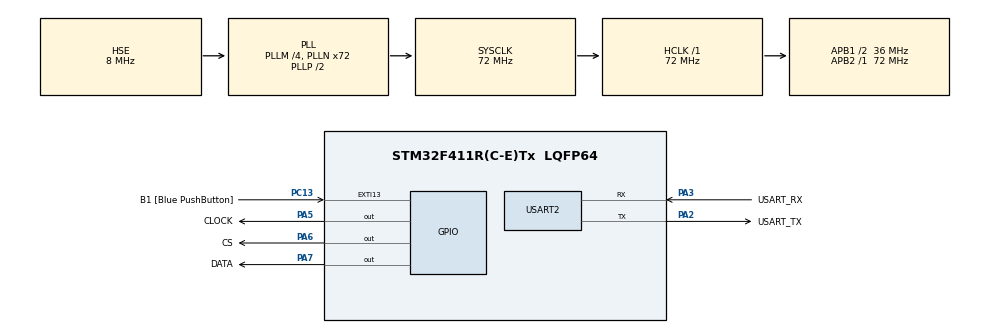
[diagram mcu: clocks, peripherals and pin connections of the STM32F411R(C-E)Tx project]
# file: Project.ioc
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Mcu.Family=STM32F4
Mcu.Name=STM32F411R(C-E)Tx
Mcu.Package=LQFP64
NVIC.PriorityGroup=NVIC_PRIORITYGROUP_0
PA13.GPIO_Label=TMS
PA13.Mode=Serial_Wire
PA13.Signal=SYS_JTMS-SWDIO
PA14.GPIO_Label=TCK
PA14.Mode=Serial_Wire
PA14.Signal=SYS_JTCK-SWCLK
PA2.GPIO_Label=USART_TX
PA2.Mode=Asynchronous
PA2.Signal=USART2_TX
PA3.GPIO_Label=USART_RX
PA3.Mode=Asynchronous
PA3.Signal=USART2_RX
PA5.GPIO_Label=CLOCK
PA5.Signal=GPIO_Output
PA6.GPIO_Label=CS
PA6.Signal=GPIO_Output
PA7.GPIO_Label=DATA
PA7.Signal=GPIO_Output
PB3.GPIO_Label=SWO
PB3.Signal=SYS_JTDO-SWO
PC13-ANTI_TAMP.GPIO_Label=B1 [Blue PushButton]
PC13-ANTI_TAMP.GPIO_ModeDefaultEXTI=GPIO_MODE_IT_FALLING
PC13-ANTI_TAMP.Signal=GPXTI13
PC14-OSC32_IN.Mode=LSE-External-Oscillator
PC14-OSC32_IN.Signal=RCC_OSC32_IN
PC15-OSC32_OUT.Mode=LSE-External-Oscillator
PC15-OSC32_OUT.Signal=RCC_OSC32_OUT
PH0\ -\ OSC_IN.Mode=HSE-External-Oscillator
PH0\ -\ OSC_IN.Signal=RCC_OSC_IN
PH1\ -\ OSC_OUT.Mode=HSE-External-Oscillator
PH1\ -\ OSC_OUT.Signal=RCC_OSC_OUT
ProjectManager.HeapSize=0x200
ProjectManager.StackSize=0x400
ProjectManager.TargetToolchain=STM32CubeIDE
RCC.48MHZClocksFreq_Value=36000000
RCC.AHBFreq_Value=72000000
RCC.APB1CLKDivider=RCC_HCLK_DIV2
RCC.APB1Freq_Value=36000000
RCC.APB1TimFreq_Value=72000000
RCC.APB2Freq_Value=72000000
RCC.APB2TimFreq_Value=72000000
RCC.CortexFreq_Value=72000000
RCC.FLatency-AdvancedSettings=FLASH_LATENCY_2
RCC.HCLKFreq_Value=72000000
RCC.HSE_VALUE=8000000
RCC.HSI_VALUE=16000000
RCC.PLLM=4
RCC.PLLN=72
RCC.PLLSourceVirtual=RCC_PLLSOURCE_HSE
RCC.SYSCLKFreq_VALUE=72000000
RCC.SYSCLKSource=RCC_SYSCLKSOURCE_PLLCLK
RCC.VCOOutputFreq_Value=144000000
USART2.VirtualMode=VM_ASYNC
board=NUCLEO-F411RE

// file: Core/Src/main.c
/* USER CODE BEGIN Header */
/**
  ******************************************************************************
  * @file           : main.c
  * @brief          : Main program body
  ******************************************************************************
  * @attention
  *
  * Copyright (c) 2022 STMicroelectronics.
  * All rights reserved.
  *
  * This software is licensed under terms that can be found in the LICENSE file
  * in the root directory of this software component.
  * If no LICENSE file comes with this software, it is provided AS-IS.
  *
  ******************************************************************************
  */
/* USER CODE END Header */
#include "main.h"

/* USER CODE BEGIN Includes */
#include <stdio.h>
//#include <curses.h>
#include <unistd.h> /* for sleep */
#include <stdlib.h>
#include <string.h>
#include <time.h>   /* for random */
#include "config.h" /* user configuration */

/* USER CODE END Includes */

/* USER CODE BEGIN PD */
#define true 1
#define false 0
#define TRUE 1
#define FALSE 0
#define ByteSize 8
/* USER CODE END PD */

UART_HandleTypeDef huart2;

/* USER CODE BEGIN PV */
uint8_t display[8] = {0};
uint8_t display2[8] = {0};
uint8_t display_2_mem[8] = {0};
uint8_t display_fin[8] = {0};

uint8_t display_blocks_still_1[8] = {0};
uint8_t display_blocks_still_2[8] = {0};
uint8_t display_blocks_still_3[8] = {0};
uint8_t display_blocks_still_4[8] = {0};

uint8_t display_blocks_mov_1[8] = {0};
uint8_t display_blocks_mov_2[8] = {0};
uint8_t display_blocks_mov_3[8] = {0};
uint8_t display_blocks_mov_4[8] = {0};

uint8_t display_blocks_mov_mem_1[8] = {0};
uint8_t display_blocks_mov_mem_2[8] = {0};
uint8_t display_blocks_mov_mem_3[8] = {0};
uint8_t display_blocks_mov_mem_4[8] = {0};

uint8_t display_fin_1[8] = {0};
uint8_t display_fin_2[8] = {0};
uint8_t display_fin_3[8] = {0};
uint8_t display_fin_4[8] = {0};

/* USER CODE END PV */

void SystemClock_Config(void);
static void MX_GPIO_Init(void);
static void MX_USART2_UART_Init(void);
/* USER CODE BEGIN PFP */
const char tetrominoes[] = {'I', 'J', 'L', 'O', 'S', 'T', 'Z'}; // contains all tetrominoes

const int tetShape[sizeof tetrominoes][3][2] = {
  { // I
    {-2, 0},
    {-1, 0},
    {1, 0}
  },
  { // J
    {1, -1},
    {1, 0},
    {-1, 0}
  },
  { // L
    {-1, -1},
    {-1, 0},
    {1, 0}
  },
  { // O
    {0, -1},
    {1, -1},
    {1, 0}
  },
  { // S
    {-1, -1},
    {0, -1},
    {1, 0}
  },
  { // T
    {0, -1},
    {-1, 0},
    {1, 0}
  },
  { // Z
    {-1, 0},
    {0, -1},
    {1, -1}
  }
};
// info about tetShape
// each tetromino is made from 4 blocks
// we already know there's a center
// we just need to know the offsets of the other blocks of the tetromino
// they are in the same order as the other array above.
// remember that x goes right, and y goes down.

const int wallKickData[8][4][2] = {
  { // 0->R
    // 5 tests per rotation, but I only need to store four becauses the first test is always the origin
    {-1, 0}, // x and y positions
    {-1, 1},
    {0, -2},
    {-1, -2}
  },
  { // R->0
    {1, 0},
    {1, -1},
    {0, 2},
    {1, 2}
  },
  { // R->2
    {1, 0},
    {1, -1},
    {0, 2},
    {1, 2}
  },
  { // 2->R
    {-1, 0},
    {-1, 1},
    {0, -2},
    {-1, -2}
  },
  { // 2->L
    {1, 0},
    {1, 1},
    {0, -2},
    {1, -2}
  },
  { // L->2
    {-1, 0},
    {-1, -1},
    {0, 2},
    {-1, 2}
  },
  { // L->0
    {-1, 0},
    {-1, -1},
    {0, 2},
    {-1, 2}
  },
  { // 0->L
    {1, 0},
    {1, 1},
    {0, -2},
    {1, -2}
  }
};

const int stickKickData[8][4][2] = { // for I tetromino
  { // 0->R
    {-2, 0},
    {1, 0},
    {-2, -1},
    {1, 2}
  },
  { // R->0
    {2, 0},
    {-1, 0},
    {2, 1},
    {-1, -2}
  },
  { // R->2
    {-1, 0},
    {2, 0},
    {-1, 2},
    {2, -1}
  },
  { // 2->R
    {1, 0},
    {-2, 0},
    {1, -2},
    {-2, 1}
  },
  { // 2->L
    {2, 0},
    {-1, 0},
    {2, 1},
    {-1, -2}
  },
  { // L->2
    {-2, 0},
    {1, 0},
    {-2, -1},
    {1, 2}
  },
  { // L->0
    {1, 0},
    {-2, 0},
    {1, -2},
    {-2, 1}
  },
  { // 0->L
    {-1, 0},
    {2, 0},
    {-1, 2},
    {2, -1}
  }
};

// wall kick constants, used to check for wall kicks
// see https://tetris.wiki/Super_Rotation_System#Wall_Kicks for more info

struct tetPiece {
  int x, y; // position of tetromino
};

struct tetBoard {
  char grid[wid][len];
  // alright, this will be more simple than snake.
  // the grid buffer goes from left to right, top to bottom.
  // the buffer will store the type of tetrominoes as integers.
  // see tetrominoes below.
  int next[nextLen];
  // next is the same, uses tetrominoes defined below.

  int order[8]; // order of tetrominoes, will be shuffled.
  int orderCount; // current place of order, array reshuffles when you go over the max.

  int cur; // current tetromino
  int dir; // direction of tetromino, range of 0-3
  int timeToDrop; // time until tetromino drops, in microseconds.
  int blocks[4][2]; // contains other parts of tetromino, ignoring center.
  int ghostOffset; // ghost offset
  int lD; // boolean, for lock delay.
  int hold; // hold tetromino
  int holdCooldown; // if hold needs to cool down

  int level; // which level you are currently on
  int lines; // progress towards your next level
  int totalLines; // total lines completed

  // these just count the types of line clears you got
  // int single;
  // int doubleCount;
  // int triple;
  // int tetris;

  struct tetPiece piece;

//  WINDOW *gameWin; // the game window
//  WINDOW *nextWin; // next tetrominoes
  // WINDOW *holdWin; // shows hold
  // WINDOW *statsWin; // shows stats, such as level and lines
  // WINDOW *lineClearWin; // shows line clears
};

struct tetBoard newBoard() {
  struct tetBoard out = {
    .order = {0, 1, 2, 3, 4, 5, 6, 7},
    .lD = 0,
    .level = 1,
  };
  return out;
}

int w, h; // width and height of terminal screen

void shuffle(int *array, size_t n) // copied from https://stackoverflow.com/questions/6127503/shuffle-array-in-c#6127606
{
    if (n > 1)
    {
        size_t i;
        for (i = 0; i < n - 1; i++)
        {
          size_t j = i + rand() / (RAND_MAX / (n - i) + 1);
          int t = array[j];
          array[j] = array[i];
          array[i] = t;
        }
    }
}

int getTetromino(int d, int t, int blocks[4][2]) { // returns the other 3 tetromino blocks when given the center and type of tetromino, and the pointer to the block array.
  int x, y; // temporary variables

  blocks[3][0] = 0; // ok, change my mind
  blocks[3][1] = 0; // we are returning all the blocks of the tetromino :p
  for (int i = 0; i < 3; i++) { // direction handler
    int xC = 1;
    int yC = 1;
    if (tetrominoes[t] != 'O') { // square tetrominoes don't rotate.
      if (d == 1 || d == 2) {
        yC = -1;
      }
      if (d < 2) {
        xC = -1;
      }
      blocks[i][0] = (tetShape[t][i][1 * (d % 2)] * xC);
      blocks[i][1] = (tetShape[t][i][1 * (d % 2 == 0)] * yC);
      if (tetrominoes[t] == 'I') { // the straight tetromino rotates kinda weird :p
        if (d == 1 || d == 2) {
          blocks[i][0]++;
        }
        if (d > 1) {
          y++;
          blocks[i][1]++;
        }
      }
    } else {
      blocks[i][0] = tetShape[t][i][0];
      blocks[i][1] = tetShape[t][i][1];
    }
  }
  if (tetrominoes[t] == 'I') { // the straight tetromino rotates kinda weird :p
    if (d == 1 || d == 2) {
      blocks[3][0]++;
    }
    if (d > 1) {
      blocks[3][1]++;
    }
  }
}

void updateNext(struct tetBoard *board) {
  // draw new next blocks

//  werase(board->nextWin);

//  wattron(board->nextWin, COLOR_PAIR(8));

//  wprintw(board->nextWin, "-NEXT-");

  int nextBlock[4][2];

  for (int i = 0; i < nextLen; i++) { // draw next blocks
    getTetromino(0, board->next[i], nextBlock);
//    wattron(board->nextWin, COLOR_PAIR(board->next[i]+1));
    for (int n = 0; n < 4; n++) {
//      wmove(board->nextWin, 3 + (i*4) + nextBlock[n][1], 2 + nextBlock[n][0]);
//      waddch(board->nextWin, tetrominoes[board->next[i]]);
    }
  }

//  wrefresh(board->nextWin);
}

int popBag(struct tetBoard *board) {
  int pop = board->order[board->orderCount]; // pop tetromino from bag
  board->orderCount++; // increment "stack pointer"
  if (board->orderCount > 6) { // if reached end of bag
    board->orderCount = 0; // reset "stack pointer"
    shuffle(board->order, 7); // shuffle order
  }
  return pop;
}

int popNext(struct tetBoard *board) {
  int pop = board->next[0]; // pop tetromino from bag
  for (int i = 0; i < nextLen - 1; i++) {
    board->next[i] = board->next[i+1]; // move all tetrominoes up one
  }
  board->next[nextLen - 1] = popBag(board); // get another tetromino into next

  updateNext(board);

  return pop; // finally, return tetromino
}

//void wprintCenter(WINDOW *win, char *s, int offset) { // prints text at center of screen
//  int w, h;
//  getmaxyx(win, h, w);
//  wmove(win, (h / 2) + offset, (w - strlen(s)) / 2);
//  wprintw(win, s);
//}

void findGhost(struct tetBoard *board) {
  int x, y; // temporary variables

  board->ghostOffset = 0;
  int finished = 0; // variable used to check if a loop is finished or not

  while (true) { // find the y offset for ghost piece
    for (int i = 0; i < 4; i++) {
      x = board->blocks[i][0] + board->piece.x;
      y = board->blocks[i][1] + board->ghostOffset + board->piece.y;
      if (y == len || (board->grid[x][y] != 0 && x >= 0 && y >= 0)) {
        finished = 1;
        break;
      }
    }
    if (finished) {
      break;
    }
    board->ghostOffset++;
  }

  board->ghostOffset--;
}

int collision(struct tetBoard *board) { // check for collision
  getTetromino(board->dir, board->cur, board->blocks);
  int x, y; // temporary variables

  for (int i = 0; i < 4; i++) { // grid check
    x = board->blocks[i][0] + board->piece.x;
    y = board->blocks[i][1] + board->piece.y;

    if (x < 0) { // left check
      return 1;
    }

    if (x >= wid) { // right check
      return 1;
    }

    if (y >= len) { // bottom collision check
      return 1;
    }

    if (board->grid[x][y] != 0 && y > 0) {
      return 1;
    }
  }

  return 0;
}

// void gameOver(struct tetBoard *board) {
//   while (getch() != '\n'){}; // wait for enter to be pressed
//   endwin(); // end window
//   exit(0); // exit
// }

void hdrop(struct tetBoard *board) { // hard drop function
  int x, y; // temporary variables

  board->holdCooldown = 0; // reset hold
  board->dir = 0;
  board->lD = 0;
  findGhost(board);

  for (int i = 0; i < 4; i++) {
    // if (y < 1) {
    //   gameOver(board);
    // }
    x = board->blocks[i][0] + board->piece.x;
    y = board->blocks[i][1] + board->piece.y + board->ghostOffset;
    board->grid[x][y] = board->cur + 1; // draw tetromino to grid
  }

  board->cur = popNext(board);

  board->piece.x = wid / 2 - 1; // reset x
  board->piece.y = 0; // and y position

  int linesCleared = 0; // number of lines cleared

  for (int y = 0; y < len; y++) { // loop to find cleared lines
    int success = 1;
    for (int x = 0; x < wid; x++) {
      if (board->grid[x][y] == 0) {
        success = 0;
        break;
      }
    }
    if (success) {
      for (int rY = y; rY > 0; rY--) { // loop to clear lines
        for (int rX = 0; rX < wid; rX++) {
          board->grid[rX][rY] = board->grid[rX][rY-1];
        }
      }
      linesCleared++;
    }
  }

  // werase(board->lineClearWin);

  // if (linesCleared > 0) {
  //   board->totalLines += linesCleared;

  //   switch (linesCleared) {
  //     case 1:
  //       board->single++;
  //       wprintCenter(board->lineClearWin, "Single", 0);
  //       break;
  //     case 2:
  //       board->doubleCount++;
  //       wprintCenter(board->lineClearWin, "Double", 0);
  //       break;
  //     case 3:
  //       board->triple++;
  //       wprintCenter(board->lineClearWin, "Triple", 0);
  //       break;
  //     case 4:
  //       board->tetris++;
  //       wprintCenter(board->lineClearWin, "Tetris", 0);
  //       break;
  //   }

  //   if (specialLineValues) {
  //     switch (linesCleared) {
  //       case 1:
  //         board->lines += 1;
  //         break;
  //       case 2:
  //         board->lines += 3;
  //         break;
  //       case 3:
  //         board->lines += 5;
  //         break;
  //       case 4:
  //         board->lines += 8;
  //         break;
  //     }
  //   } else {
  //     board->lines += linesCleared;
  //   }

  //   while (board->lines >= board->level * 5) {
  //     board->lines = board->lines - (board->level * 5);
  //     board->level++;
  //   }

  //   updateStats(board);
  // }

  // wrefresh(board->lineClearWin);
}

void sdrop(int a, struct tetBoard *board) { // soft drop function
  if (board->lD) {
    if (a) {
      hdrop(board);
    }
  } else {
    board->piece.y++;

    if (collision(board)) {
      board->piece.y--;
    }
    for(uint8_t i=0;i<8;i++) {
//		display_fin[i] = display[i] | display_2_mem[i]; /* XXX */
//		write_max(i+1, display_fin[i]); /* XXX */

    	display_fin_1[i] = display_blocks_still_1[i] | display_blocks_mov_mem_1[i];
		display_fin_2[i] = display_blocks_still_2[i] | display_blocks_mov_mem_2[i];
		display_fin_3[i] = display_blocks_still_3[i] | display_blocks_mov_mem_3[i];
		display_fin_4[i] = display_blocks_still_4[i] | display_blocks_mov_mem_4[i];
		write_max_screen(i+1, display_fin_1[i], i+1, display_fin_2[i], i+1, display_fin_3[i], i+1, display_fin_4[i]);
//		display_2_mem[i] = 0; /* XXX */

		display_blocks_still_1[i] = 0;
		display_blocks_still_2[i] = 0;
		display_blocks_still_3[i] = 0;
		display_blocks_still_4[i] = 0;

		display_blocks_mov_1[i] = 0;
		display_blocks_mov_2[i] = 0;
		display_blocks_mov_3[i] = 0;
		display_blocks_mov_4[i] = 0;

		display_blocks_mov_mem_1[i] = 0;
		display_blocks_mov_mem_2[i] = 0;
		display_blocks_mov_mem_3[i] = 0;
		display_blocks_mov_mem_4[i] = 0;

		display_fin_1[i] = 0;
		display_fin_2[i] = 0;
		display_fin_3[i] = 0;
		display_fin_4[i] = 0;
    }

    findGhost(board);

    if (board->ghostOffset == 0) {
      board->lD = 1;
      board->timeToDrop = lockDelay;
    }
  }
}

void resetLockDelay(struct tetBoard *board) {
  findGhost(board);

  if (board->ghostOffset > 0 && board->lD) {
    board->lD = 0;
    board->timeToDrop = dropTime / board->level;
  }
}

int lookupKickData(int cur, int dirTurn, int test, int xory) {
  // helper function for wallKick()
  // xory is short for x or y
  // returns x/y offset from wall kick lookup table
  if (tetrominoes[cur] == 'I') { // if rotating stick piece
    return stickKickData[dirTurn][test][xory]; // use special stick kick data
  } else {
    return wallKickData[dirTurn][test][xory]; // use normal wall kick data
  }
}

int wallKick(int input, struct tetBoard *board) { // wall kick check
  // checks to see if a wall kick is possible
  // if it is, it performs the wall kick
  // function returns 1 if the kick was successful, 0 if it was not

  int dirTurn = (board->dir * 2) + (input == rrotate); // satisfies all cases from 0->R to 0->L

  for (int i = 0; i < 4; i++) {
    board->piece.x += lookupKickData(board->cur, dirTurn, i, 0);
    board->piece.y += lookupKickData(board->cur, dirTurn, i, 1);

    if (collision(board)) {
      board->piece.x -= lookupKickData(board->cur, dirTurn, i, 0); // undo move
      board->piece.y -= lookupKickData(board->cur, dirTurn, i, 1);
    } else {
      return 1; // success!
    }
  }

  return 0; // wall kick not possible
}

void processKeys(struct tetBoard *board) {
//  int input = getch();

//  if (input == rotate1 || input == rotate2) { // rotate tetromino
//    board->dir = (board->dir + 1) % 4;
//    if (collision(board) && !wallKick(input, board)) { // if there's a collision and a wall kick isn't possible
//      board->dir = (board->dir + 3) % 4; // undo rotation
//    }
//    resetLockDelay(board);
//  } else if (input == rrotate) { // rotate tetromino in reverse
//    board->dir = (board->dir + 3) % 4;
//    if (collision(board) && !wallKick(input, board)) {
//      board->dir = (board->dir + 1) % 4;
//    }
//    resetLockDelay(board);
//  } else if (input == rotate180) { // rotate tetromino 180 degrees
//    for (int i = 0; i < 2; i++) { // rotating tetromino 90 degrees twice is the same as rotating a tetromino 180 degrees
//      board->dir = (board->dir + 1) % 4;
//      if (collision(board) && !wallKick(input, board)) {
//        board->dir = (board->dir + 3) % 4;
//        break;
//      }
//    }
//    resetLockDelay(board);
//  } else if (input == left) { // go left
//    board->piece.x--;
//    if (collision(board)) {
//      board->piece.x++;
//    }
//    resetLockDelay(board);
//  } else if (input == right) { // go right
//    board->piece.x++;
//    if (collision(board)) {
//      board->piece.x--;
//    }
//    resetLockDelay(board);
//  } else if (input == softdrop) {
//    sdrop(0, board);
//  } else if (input == harddrop) {
//    hdrop(board);
//  } else if (input == holdKey) {
//    if (!board->holdCooldown) {
//      int swap; // temporary swap variable
//      swap = board->hold;
//      board->hold = board->cur + 1;
//
//      board->piece.x = wid / 2 - 1; // reset x
//      board->piece.y = 0; // and y position
//      board->dir = 0; // and rotation
//      board->lD = 0; // reset lock delay because we aren't touching ground anymore.
//
//      if (swap == 0) {
//        board->cur = popNext(board);
//      } else {
//        board->cur = swap - 1;
//      }
//      board->holdCooldown = 1;
//      // updateHold(board);
//    }
//  }

  if (board->timeToDrop <= 0) { // soft drop
    board->timeToDrop = dropTime / board->level;
    sdrop(1, board);
  } else {
    board->timeToDrop--;
  }
}

void drawGame(struct tetBoard *board) {

	for(int i=0;i<8;i++){
//		display[i] = 0;
//		display2[i] = 0;
//		display_2_mem[i] = 0;
//		display_fin[i] = 0;

//		display_blocks_still_1[i] = 0;
//		display_blocks_still_2[i] = 0;
//		display_blocks_still_3[i] = 0;
//		display_blocks_still_4[i] = 0;
//
//		display_blocks_mov_1[i] = 0;
//		display_blocks_mov_2[i] = 0;
//		display_blocks_mov_3[i] = 0;
//		display_blocks_mov_4[i] = 0;
//
//		display_blocks_mov_mem_1[i] = 0;
//		display_blocks_mov_mem_2[i] = 0;
//		display_blocks_mov_mem_3[i] = 0;
//		display_blocks_mov_mem_4[i] = 0;
//
//		display_fin_1[i] = 0;
//		display_fin_2[i] = 0;
//		display_fin_3[i] = 0;
//		display_fin_4[i] = 0;
	}

//  werase(board->gameWin); // clear screen

//  wattron(board->gameWin, COLOR_PAIR(8));
//  wborder(board->gameWin, '|', '|', '-', '-', '+', '+', '+', '+'); // ascii borders

  if (board->orderCount >= 7) {
    board->orderCount = 0;
  }

  for (int y = 0; y < len; y++) {
    for (int x = 0; x < wid; x++) { // draw tetris pieces already placed on the board
      if (board->grid[x][y] != 0) {
//    	  display[y] |= (1u << x); /* XXX */

    	  if (y <= 7 && x >= 8){
    		  display_blocks_still_1[y] |= (1u << (x-8));
    	  }
    	  else if (y <= 7 && x <= 7){
    		  display_blocks_still_2[y] |= (1u << x);
    	  }

    	  else if (y >= 8 && x >= 8){
    		  display_blocks_still_3[y-8] |= (1u << (x-8));
    	  }
    	  else if (y >= 8 && x <= 7){
    		  display_blocks_still_4[y-8] |= (1u << x);
    	  }
      }
    }
  }

  getTetromino(board->dir, board->cur, board->blocks);

  // findGhost(board);

  // wattron(board->gameWin, COLOR_PAIR(9)); // ghost piece is gray

  // if (board->ghostOffset > 0) {
  //   for (int i = 0; i < 4; i++) { // draw ghost piece
  //     wmove(board->gameWin, board->blocks[i][1] + board->piece.y + 1 + board->ghostOffset, board->blocks[i][0] + board->piece.x + 1);
  //     waddch(board->gameWin, tetrominoes[board->cur]);
  //   }
  // }

  // wattron(board->gameWin, COLOR_PAIR(board->cur+1));

  for (int i = 0; i < 4; i++) { // draw current tetris piece
//    if (board->blocks[i][1] + board->piece.y >= 0 || i == 3) {
	  for (int y = 0; y < len; y++) {
		for (int x = 0; x < wid; x++) {
//			if (board->blocks[i][1] + board->piece.y + 1 == y && board->blocks[i][0] + board->piece.x + 1 == x){
			if (board->blocks[i][1] + board->piece.y + 1 == y && board->blocks[i][0] + board->piece.x == x){
//				display2[y] |= (1u << x); /* XXX */
			  if (y <= 7 && x >= 8){
				  display_blocks_mov_1[y] |= (1u << (x-8));
			  }
			  else if (y <= 7 && x <= 7){
				  display_blocks_mov_2[y] |= (1u << x);
			  }

			  else if (y >= 8 && x >= 8){
				  display_blocks_mov_3[y-8] |= (1u << (x-8));
			  }
			  else if (y >= 8 && x <= 7){
				  display_blocks_mov_4[y-8] |= (1u << x);
			  }
            }
		}
	  for(int i=0;i<8;i++) {
//		  display_2_mem[i] = display_2_mem[i] | display2[i]; /* XXX */
		  display_blocks_mov_mem_1[i] = display_blocks_mov_mem_1[i] | display_blocks_mov_1[i];
		  display_blocks_mov_mem_2[i] = display_blocks_mov_mem_2[i] | display_blocks_mov_2[i];
		  display_blocks_mov_mem_3[i] = display_blocks_mov_mem_3[i] | display_blocks_mov_3[i];
		  display_blocks_mov_mem_4[i] = display_blocks_mov_mem_4[i] | display_blocks_mov_4[i];
		}
      }
  }
}

void printCenter(char *s, int offset) { // prints text at center of screen
//  move((h / 2) + offset, (w - strlen(s)) / 2);
//  printw(s);
}
/* USER CODE END PFP */

/* USER CODE BEGIN 0 */

void write_byte (uint8_t byte)
{
	for (int i =0; i<8; i++)
	{
		HAL_GPIO_WritePin (GPIOA, GPIO_PIN_5, 0);  // pull the clock pin low
		HAL_GPIO_WritePin (GPIOA, GPIO_PIN_7, byte&0x80);  // write the MSB bit to the data pin
		byte = byte<<1;  // shift left
		HAL_GPIO_WritePin (GPIOA, GPIO_PIN_5, 1);  // pull the clock pin HIGH
	}
}

void write_max (uint8_t address, uint8_t data)
{
	HAL_GPIO_WritePin (GPIOA, GPIO_PIN_6, 0);  // pull the CS pin LOW
	write_byte (address);
	write_byte (data);
	HAL_GPIO_WritePin (GPIOA, GPIO_PIN_6, 1);  // pull the CS pin HIGH
}

void write_max_screen (uint8_t address1, uint8_t data1, uint8_t address2, uint8_t data2, uint8_t address3, uint8_t data3, uint8_t address4, uint8_t data4)
{
	HAL_GPIO_WritePin (GPIOA, GPIO_PIN_6, 0);  // pull the CS pin LOW
	write_byte (address1);
	write_byte (data1);
	write_byte (address2);
	write_byte (data2);
	write_byte (address3);
	write_byte (data3);
	write_byte (address4);
	write_byte (data4);
	HAL_GPIO_WritePin (GPIOA, GPIO_PIN_6, 1);  // pull the CS pin HIGH
}

// function for init

void max_init(void)
{
 write_max(0x09, 0x00);       //  no decoding
 write_max(0x0a, 0x00);       //  brightness intensity
 write_max(0x0b, 0x07);       //  scan limit = 8 LEDs
 write_max(0x0c, 0x01);       //  power down =0,normal mode = 1
 write_max(0x0f, 0x00);       //  no test display
}

//void write_string (char *str)
//{
//	while (*str)
//	{
//		for(int i=1;i<9;i++)
//			   {
//			       write_max (i,disp1ay[(*str - 55)][i-1]);
//			   }
//		*str++;
//		HAL_Delay (500);
//	}
//}

/* USER CODE END 0 */

int main(void)
{

  /* MCU Configuration--------------------------------------------------------*/

  /* Reset of all peripherals, Initializes the Flash interface and the Systick. */
  HAL_Init();

  /* Configure the system clock */
  SystemClock_Config();

  /* Initialize all configured peripherals */
  MX_GPIO_Init();
  MX_USART2_UART_Init();
  /* USER CODE BEGIN 2 */
  max_init ();
  struct tetBoard tetris = newBoard();

//  initscr(); // initialize ncurses

//  getmaxyx(stdscr, h, w); // get width and height of screen

//  if (w < wid + 13 || (h < len + 2 || h < nextLen * 4 + 2)) {
//    printCenter("Screen too small!", -1);
//    printCenter("Press any key to quit", 1);
////    getch(); // wait for input
//  } else {
    srand(time(0)); // init random

//    nodelay(stdscr, TRUE); // don't want delay with getch input
//    noecho(); // also, don't echo output
//    keypad(stdscr, TRUE); // I'm also using arrow keys.
//    start_color(); // initialize colors
//    curs_set(0); // hides cursor

//    init_color(8, 700, 500, 0); // I'm using 8 as orange
//    init_color(9, 500, 500, 500); // I need a gray as well.
//
//    init_pair(1, COLOR_CYAN, 0); // I
//    init_pair(2, COLOR_BLUE, 0); // J
//    init_pair(3, 8, 0);          // L
//    init_pair(4, COLOR_YELLOW, 0); // O
//    init_pair(5, COLOR_GREEN, 0); // S
//    init_pair(6, COLOR_MAGENTA, 0); // T
//    init_pair(7, COLOR_RED, 0); // Z
//    init_pair(8, COLOR_WHITE, 0); // default
//    init_pair(9, 9, 0); // gray is used for ghost piece

//    tetris.gameWin = newwin(len + 2, wid + 2, (h-len) / 2, (w-wid) / 2);
//    tetris.nextWin = newwin(nextLen * 4 + 4, 6, (h-len) / 2 - 1, (w+wid) / 2 + 3);
    // tetris.holdWin = newwin(10, 6, (h-len) / 2, (w-wid) / 2 - 8);
    // tetris.statsWin = newwin(8, 7, (h+len) / 2 - 6, (w-wid) / 2 - 8);
    // tetris.lineClearWin = newwin(1, w, ((h-len) / 2) + len + 3, 1);

    tetris.timeToDrop = dropTime / tetris.level;
    shuffle(tetris.order, 7); // shuffle order

    for (int i = 0; i < nextLen; i++) { // fill next array
      tetris.next[i] = popBag(&tetris);
    }

    tetris.piece.x = wid / 2 - 1; // init x position

//    getch(); // first run of getch, to make sure nothing is cleared for no reason.

    // updateHold(&tetris);
    // updateStats(&tetris);
    // updateNext(&tetris);

    // wattron(tetris.gameWin, COLOR_PAIR(8)); // default colors

    for (int i = secondsToStart; i > 0; i--) { // countdown
      char num[wid]; // for whatever reason, cannot have length of 1.
      sprintf(num, "%d", i); // format number
//      werase(tetris.gameWin); // clear screen
//      wborder(tetris.gameWin, '|', '|', '-', '-', '+', '+', '+', '+'); // ascii borders
//      wprintCenter(tetris.gameWin, num, 0);
//      wmove(tetris.gameWin, 0, 0);
//      wrefresh(tetris.gameWin);
//      sleep(1);
      HAL_Delay(1000);
    }

//    werase(tetris.gameWin); // clear screen
//    wborder(tetris.gameWin, '|', '|', '-', '-', '+', '+', '+', '+'); // ascii borders
//    wprintCenter(tetris.gameWin, "START!", 0);
//    wmove(tetris.gameWin, 0, 0);
//    wrefresh(tetris.gameWin);
//    sleep(1);
//    HAL_Delay(1000);

//    while (getch() != -1) {} // clear input

    tetris.cur = popNext(&tetris); // get current tetromino
  /* USER CODE END 2 */

  /* Infinite loop */
  /* USER CODE BEGIN WHILE */
  while (1)
  {
      processKeys(&tetris);

      drawGame(&tetris);

//      usleep(1);
      HAL_Delay(1);
    /* USER CODE END WHILE */

    /* USER CODE BEGIN 3 */
	}
//    }
//	endwin();
  /* USER CODE END 3 */
}

void SystemClock_Config(void)
{
  RCC_OscInitTypeDef RCC_OscInitStruct = {0};
  RCC_ClkInitTypeDef RCC_ClkInitStruct = {0};

  /** Configure the main internal regulator output voltage
  */
  __HAL_RCC_PWR_CLK_ENABLE();
  __HAL_PWR_VOLTAGESCALING_CONFIG(PWR_REGULATOR_VOLTAGE_SCALE1);

  /** Initializes the RCC Oscillators according to the specified parameters
  * in the RCC_OscInitTypeDef structure.
  */
  RCC_OscInitStruct.OscillatorType = RCC_OSCILLATORTYPE_HSE;
  RCC_OscInitStruct.HSEState = RCC_HSE_ON;
  RCC_OscInitStruct.PLL.PLLState = RCC_PLL_ON;
  RCC_OscInitStruct.PLL.PLLSource = RCC_PLLSOURCE_HSE;
  RCC_OscInitStruct.PLL.PLLM = 4;
  RCC_OscInitStruct.PLL.PLLN = 72;
  RCC_OscInitStruct.PLL.PLLP = RCC_PLLP_DIV2;
  RCC_OscInitStruct.PLL.PLLQ = 4;
  if (HAL_RCC_OscConfig(&RCC_OscInitStruct) != HAL_OK)
  {
    Error_Handler();
  }

  /** Initializes the CPU, AHB and APB buses clocks
  */
  RCC_ClkInitStruct.ClockType = RCC_CLOCKTYPE_HCLK|RCC_CLOCKTYPE_SYSCLK
                              |RCC_CLOCKTYPE_PCLK1|RCC_CLOCKTYPE_PCLK2;
  RCC_ClkInitStruct.SYSCLKSource = RCC_SYSCLKSOURCE_PLLCLK;
  RCC_ClkInitStruct.AHBCLKDivider = RCC_SYSCLK_DIV1;
  RCC_ClkInitStruct.APB1CLKDivider = RCC_HCLK_DIV2;
  RCC_ClkInitStruct.APB2CLKDivider = RCC_HCLK_DIV1;

  if (HAL_RCC_ClockConfig(&RCC_ClkInitStruct, FLASH_LATENCY_2) != HAL_OK)
  {
    Error_Handler();
  }
}

static void MX_USART2_UART_Init(void)
{

  huart2.Instance = USART2;
  huart2.Init.BaudRate = 115200;
  huart2.Init.WordLength = UART_WORDLENGTH_8B;
  huart2.Init.StopBits = UART_STOPBITS_1;
  huart2.Init.Parity = UART_PARITY_NONE;
  huart2.Init.Mode = UART_MODE_TX_RX;
  huart2.Init.HwFlowCtl = UART_HWCONTROL_NONE;
  huart2.Init.OverSampling = UART_OVERSAMPLING_16;
  if (HAL_UART_Init(&huart2) != HAL_OK)
  {
    Error_Handler();
  }

}

static void MX_GPIO_Init(void)
{
  GPIO_InitTypeDef GPIO_InitStruct = {0};

  /* GPIO Ports Clock Enable */
  __HAL_RCC_GPIOC_CLK_ENABLE();
  __HAL_RCC_GPIOH_CLK_ENABLE();
  __HAL_RCC_GPIOA_CLK_ENABLE();
  __HAL_RCC_GPIOB_CLK_ENABLE();

  /*Configure GPIO pin Output Level */
  HAL_GPIO_WritePin(GPIOA, CLOCK_Pin|CS_Pin|DATA_Pin, GPIO_PIN_RESET);

  /*Configure GPIO pin : B1_Pin */
  GPIO_InitStruct.Pin = B1_Pin;
  GPIO_InitStruct.Mode = GPIO_MODE_IT_FALLING;
  GPIO_InitStruct.Pull = GPIO_NOPULL;
  HAL_GPIO_Init(B1_GPIO_Port, &GPIO_InitStruct);

  /*Configure GPIO pins : CLOCK_Pin CS_Pin DATA_Pin */
  GPIO_InitStruct.Pin = CLOCK_Pin|CS_Pin|DATA_Pin;
  GPIO_InitStruct.Mode = GPIO_MODE_OUTPUT_PP;
  GPIO_InitStruct.Pull = GPIO_NOPULL;
  GPIO_InitStruct.Speed = GPIO_SPEED_FREQ_LOW;
  HAL_GPIO_Init(GPIOA, &GPIO_InitStruct);

}

void Error_Handler(void)
{
  __disable_irq();
  while (1)
  {
  }
}
